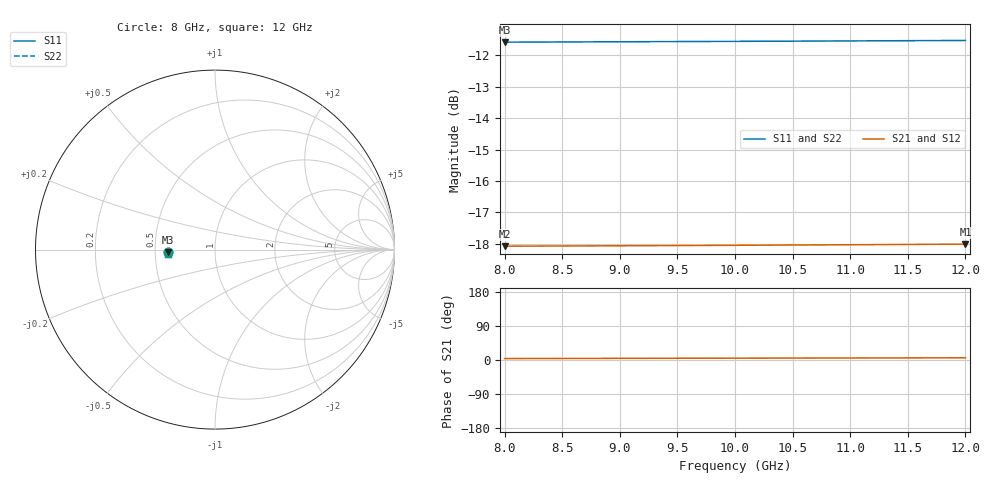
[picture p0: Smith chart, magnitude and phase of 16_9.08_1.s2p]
! Created Wed Oct 21 16:05:25 2020
# ghz S db R 50
! 2 Port Network Data from SP1.SP block
! freq  dbS11  angS11  dbS21  angS21  dbS12  angS12  dbS22  angS22
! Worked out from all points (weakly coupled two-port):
!   9 points, 8 GHz to 12 GHz, reference 50 ohm
!   highest |S21| = -18.01 dB at 12 GHz (marker M1); lowest = -18.1 dB at 8 GHz (marker M2)
!   lowest |S11| = -11.6 dB at 8 GHz (marker M3), VSWR 1.72, Z = 29.2 - j1.01 ohm
!   |S11| at or under -10 dB: start of sweep to end of sweep
!   |S22| runs from -11.6 to -11.5 dB; largest |S21 - S12| = 2.6e-17
8  -11.58 -176.5  -18.07 3.8  -18.07 3.8  -11.58 -176.5
8.5  -11.58 -176.3  -18.07 4.1  -18.07 4.1  -11.58 -176.3
9  -11.57 -176.1  -18.06 4.3  -18.06 4.3  -11.57 -176.1
9.5  -11.56 -175.9  -18.05 4.6  -18.05 4.6  -11.56 -175.9
10  -11.56 -175.7  -18.04 4.8  -18.04 4.8  -11.56 -175.7
10.5  -11.55 -175.5  -18.04 5.1  -18.04 5.1  -11.55 -175.5
11  -11.54 -175.3  -18.03 5.3  -18.03 5.3  -11.54 -175.3
11.5  -11.54 -175.1  -18.02 5.6  -18.02 5.6  -11.54 -175.1
12  -11.53 -174.9  -18.01 5.8  -18.01 5.8  -11.53 -174.9
